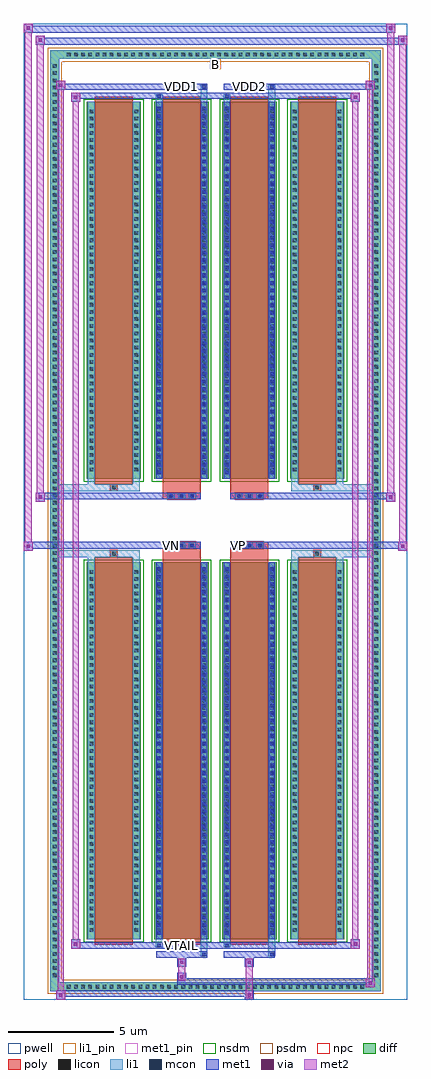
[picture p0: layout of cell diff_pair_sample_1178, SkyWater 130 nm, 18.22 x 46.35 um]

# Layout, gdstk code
import gdstk
lib = gdstk.Library(unit=1e-6, precision=5e-09)
def R(c, l, rs):  # rectangles x0, y0, x1, y1
    for r in rs: c.add(gdstk.rectangle(r[:2], r[2:], *l))
def A(c, l, x, y, w, h, nx, ny, dx, dy):  # array of equal rectangles
    R(c, l, [(x+i*dx, y+j*dy, x+i*dx+w, y+j*dy+h) for i in range(nx) for j in range(ny)])
def P(c, l, *ps):  # polygons
    for p in ps: c.add(gdstk.Polygon(p, *l))
pwell = (64, 44)
diff = (65, 20)
poly = (66, 20)
licon = (66, 44)
li1_pin = (67, 16)
li1 = (67, 20)
mcon = (67, 44)
met1_pin = (68, 16)
met1 = (68, 20)
via = (68, 44)
met2 = (69, 20)
nsdm = (93, 44)
psdm = (94, 20)
npc = (95, 20)

diff_pair_sample_1178 = lib.new_cell('diff_pair_sample_1178')
R(diff_pair_sample_1178, pwell, [(-9.11,-22.74,9.11,23.61), (-6.43,-20.93,-0.01,-0.805), (0.01,-20.93,6.43,-0.805), (-6.43,0.805,-0.01,20.93), (0.01,0.805,6.43,20.93)])
A(diff_pair_sample_1178, diff, -7.175, -22.34, 0.41, 0.41, 42, 2, 0.34, 44.27)
A(diff_pair_sample_1178, diff, -7.84, -21.795, 0.41, 0.41, 1, 128, 0, 0.34)
A(diff_pair_sample_1178, diff, 7.43, -21.795, 0.41, 0.41, 1, 128, 0, 0.34)
A(diff_pair_sample_1178, diff, -6.12, -19.885, 2.58, 17.9, 4, 2, 3.22, 21.87)
R(diff_pair_sample_1178, diff, [(-7.175,-22.34,7.175,-21.93), (-7.84,-21.795,-7.43,21.795), (7.43,-21.795,7.84,21.795), (-7.175,21.93,7.175,22.34)])
P(diff_pair_sample_1178, diff, [(7.84,22.34),(-7.84,22.34),(-7.84,-21.93),(-7.43,-21.93),(-7.43,21.93),(7.43,21.93),(7.43,-21.93),(-7.43,-21.93),(-7.84,-21.93),(-7.84,-22.34),(7.84,-22.34)])
A(diff_pair_sample_1178, poly, -5.73, -20.135, 1.8, 18.4, 4, 2, 3.22, 21.87)
A(diff_pair_sample_1178, poly, -2.275, -1.335, 0.33, 0.33, 3, 2, 0.5, 2.34)
A(diff_pair_sample_1178, poly, 0.945, -1.335, 0.33, 0.33, 3, 2, 0.5, 2.34)
R(diff_pair_sample_1178, poly, [(-4.995,-1.735,-4.665,-1.405), (-4.995,-1.735,-4.665,-1.405), (-2.51,-1.735,-0.71,-1.335), (0.71,-1.735,2.51,-1.335), (4.665,-1.735,4.995,-1.405), (4.665,-1.735,4.995,-1.405), (-2.51,-1.335,-0.71,-1.005), (0.71,-1.335,2.51,-1.005), (-2.51,1.005,-0.71,1.335), (0.71,1.005,2.51,1.335), (-2.51,1.335,-0.71,1.735), (0.71,1.335,2.51,1.735), (-4.995,1.405,-4.665,1.735), (-4.995,1.405,-4.665,1.735), (4.665,1.405,4.995,1.735), (4.665,1.405,4.995,1.735)])
A(diff_pair_sample_1178, licon, -7.055, -22.22, 0.17, 0.17, 42, 2, 0.34, 44.27)
A(diff_pair_sample_1178, licon, -7.72, -21.675, 0.17, 0.17, 1, 128, 0, 0.34)
A(diff_pair_sample_1178, licon, 7.55, -21.675, 0.17, 0.17, 1, 128, 0, 0.34)
A(diff_pair_sample_1178, licon, -5.98, -19.52, 0.17, 0.17, 1, 51, 0, 0.34)
A(diff_pair_sample_1178, licon, -3.85, -19.52, 0.17, 0.17, 1, 51, 0, 0.34)
A(diff_pair_sample_1178, licon, -2.76, -19.52, 0.17, 0.17, 1, 51, 0, 0.34)
A(diff_pair_sample_1178, licon, -0.63, -19.52, 0.17, 0.17, 1, 51, 0, 0.34)
A(diff_pair_sample_1178, licon, 0.46, -19.52, 0.17, 0.17, 1, 51, 0, 0.34)
A(diff_pair_sample_1178, licon, 2.59, -19.52, 0.17, 0.17, 1, 51, 0, 0.34)
A(diff_pair_sample_1178, licon, 3.68, -19.52, 0.17, 0.17, 1, 51, 0, 0.34)
A(diff_pair_sample_1178, licon, 5.81, -19.52, 0.17, 0.17, 1, 51, 0, 0.34)
A(diff_pair_sample_1178, licon, -2.195, -1.255, 0.17, 0.17, 3, 2, 0.5, 2.34)
A(diff_pair_sample_1178, licon, 1.025, -1.255, 0.17, 0.17, 3, 2, 0.5, 2.34)
A(diff_pair_sample_1178, licon, -5.98, 2.35, 0.17, 0.17, 1, 51, 0, 0.34)
A(diff_pair_sample_1178, licon, -3.85, 2.35, 0.17, 0.17, 1, 51, 0, 0.34)
A(diff_pair_sample_1178, licon, -2.76, 2.35, 0.17, 0.17, 1, 51, 0, 0.34)
A(diff_pair_sample_1178, licon, -0.63, 2.35, 0.17, 0.17, 1, 51, 0, 0.34)
A(diff_pair_sample_1178, licon, 0.46, 2.35, 0.17, 0.17, 1, 51, 0, 0.34)
A(diff_pair_sample_1178, licon, 2.59, 2.35, 0.17, 0.17, 1, 51, 0, 0.34)
A(diff_pair_sample_1178, licon, 3.68, 2.35, 0.17, 0.17, 1, 51, 0, 0.34)
A(diff_pair_sample_1178, licon, 5.81, 2.35, 0.17, 0.17, 1, 51, 0, 0.34)
R(diff_pair_sample_1178, licon, [(-4.915,-1.655,-4.745,-1.485), (4.745,-1.655,4.915,-1.485), (-4.915,1.485,-4.745,1.655), (4.745,1.485,4.915,1.655)])
R(diff_pair_sample_1178, li1_pin, [(-0.25,21.43,0.25,21.93)])
A(diff_pair_sample_1178, li1, -7.135, -22.3, 0.33, 0.33, 42, 2, 0.34, 44.27)
A(diff_pair_sample_1178, li1, -7.8, -21.755, 0.33, 0.33, 1, 128, 0, 0.34)
A(diff_pair_sample_1178, li1, 7.47, -21.755, 0.33, 0.33, 1, 128, 0, 0.34)
A(diff_pair_sample_1178, li1, -2.76, -19.66, 0.17, 0.17, 1, 49, 0, 0.36)
A(diff_pair_sample_1178, li1, -0.63, -19.66, 0.17, 0.17, 1, 49, 0, 0.36)
A(diff_pair_sample_1178, li1, 0.46, -19.66, 0.17, 0.17, 1, 49, 0, 0.36)
A(diff_pair_sample_1178, li1, 2.59, -19.66, 0.17, 0.17, 1, 49, 0, 0.36)
A(diff_pair_sample_1178, li1, -6.06, -19.6, 0.33, 0.33, 1, 51, 0, 0.34)
A(diff_pair_sample_1178, li1, -3.93, -19.6, 0.33, 0.33, 1, 51, 0, 0.34)
A(diff_pair_sample_1178, li1, -2.84, -19.6, 0.33, 0.33, 1, 51, 0, 0.34)
A(diff_pair_sample_1178, li1, -0.71, -19.6, 0.33, 0.33, 1, 51, 0, 0.34)
A(diff_pair_sample_1178, li1, 0.38, -19.6, 0.33, 0.33, 1, 51, 0, 0.34)
A(diff_pair_sample_1178, li1, 2.51, -19.6, 0.33, 0.33, 1, 51, 0, 0.34)
A(diff_pair_sample_1178, li1, 3.6, -19.6, 0.33, 0.33, 1, 51, 0, 0.34)
A(diff_pair_sample_1178, li1, 5.73, -19.6, 0.33, 0.33, 1, 51, 0, 0.34)
A(diff_pair_sample_1178, li1, -2.275, -1.335, 0.33, 0.33, 3, 2, 0.5, 2.34)
A(diff_pair_sample_1178, li1, 0.945, -1.335, 0.33, 0.33, 3, 2, 0.5, 2.34)
A(diff_pair_sample_1178, li1, -2.76, 2.21, 0.17, 0.17, 1, 49, 0, 0.36)
A(diff_pair_sample_1178, li1, -0.63, 2.21, 0.17, 0.17, 1, 49, 0, 0.36)
A(diff_pair_sample_1178, li1, 0.46, 2.21, 0.17, 0.17, 1, 49, 0, 0.36)
A(diff_pair_sample_1178, li1, 2.59, 2.21, 0.17, 0.17, 1, 49, 0, 0.36)
A(diff_pair_sample_1178, li1, -6.06, 2.27, 0.33, 0.33, 1, 51, 0, 0.34)
A(diff_pair_sample_1178, li1, -3.93, 2.27, 0.33, 0.33, 1, 51, 0, 0.34)
A(diff_pair_sample_1178, li1, -2.84, 2.27, 0.33, 0.33, 1, 51, 0, 0.34)
A(diff_pair_sample_1178, li1, -0.71, 2.27, 0.33, 0.33, 1, 51, 0, 0.34)
A(diff_pair_sample_1178, li1, 0.38, 2.27, 0.33, 0.33, 1, 51, 0, 0.34)
A(diff_pair_sample_1178, li1, 2.51, 2.27, 0.33, 0.33, 1, 51, 0, 0.34)
A(diff_pair_sample_1178, li1, 3.6, 2.27, 0.33, 0.33, 1, 51, 0, 0.34)
A(diff_pair_sample_1178, li1, 5.73, 2.27, 0.33, 0.33, 1, 51, 0, 0.34)
R(diff_pair_sample_1178, li1, [(-7.84,-22.34,-7.43,-21.93), (-7.84,-22.34,-7.43,-21.93), (-7.43,-22.34,7.43,-21.93), (7.43,-22.34,7.84,-21.93), (7.43,-22.34,7.84,-21.93), (-7.84,-21.93,-7.43,21.93), (7.43,-21.93,7.84,21.93), (-0.71,-20.69,-0.38,-19.885), (-0.63,-20.69,-0.46,-20.52), (2.51,-20.69,2.84,-19.885), (2.59,-20.69,2.76,-20.52), (-2.84,-20.26,-2.51,-19.885), (-2.76,-20.26,-2.59,-20.09), (0.38,-20.26,0.71,-19.885), (0.46,-20.26,0.63,-20.09), (-6.06,-19.885,-5.73,-1.985), (-3.93,-19.885,-3.6,-1.985), (-2.84,-19.885,-2.51,-1.985), (-0.71,-19.885,-0.38,-1.985), (0.38,-19.885,0.71,-1.985), (2.51,-19.885,2.84,-1.985), (3.6,-19.885,3.93,-1.985), (5.73,-19.885,6.06,-1.985), (-2.76,-19.66,-2.59,-2.21), (-0.63,-19.66,-0.46,-2.21), (0.46,-19.66,0.63,-2.21), (2.59,-19.66,2.76,-2.21), (-6.06,-1.985,-5.73,-1.405), (-3.93,-1.985,-3.6,-1.405), (3.6,-1.985,3.93,-1.405), (5.73,-1.985,6.06,-1.405), (-7.84,-1.735,-4.995,-1.405), (-6.06,-1.735,-4.995,-1.405), (-4.995,-1.735,-4.665,-1.405), (-4.665,-1.735,-3.6,-1.405), (3.6,-1.735,4.665,-1.405), (4.665,-1.735,4.995,-1.405), (4.665,-1.735,7.84,-1.405), (4.995,-1.735,6.06,-1.405), (-7.84,1.405,-4.995,1.735), (-6.06,1.405,-4.995,1.735), (-6.06,1.405,-5.73,1.985), (-4.995,1.405,-4.665,1.735), (-4.665,1.405,-3.6,1.735), (-3.93,1.405,-3.6,1.985), (3.6,1.405,4.665,1.735), (3.6,1.405,3.93,1.985), (4.665,1.405,4.995,1.735), (4.665,1.405,7.84,1.735), (4.995,1.405,6.06,1.735), (5.73,1.405,6.06,1.985), (-6.06,1.985,-5.73,19.885), (-3.93,1.985,-3.6,19.885), (-2.84,1.985,-2.51,19.885), (-0.71,1.985,-0.38,19.885), (0.38,1.985,0.71,19.885), (2.51,1.985,2.84,19.885), (3.6,1.985,3.93,19.885), (5.73,1.985,6.06,19.885), (-2.76,2.21,-2.59,19.66), (-0.63,2.21,-0.46,19.66), (0.46,2.21,0.63,19.66), (2.59,2.21,2.76,19.66), (-2.84,19.885,-2.51,20.26), (-0.71,19.885,-0.38,20.69), (0.38,19.885,0.71,20.26), (2.51,19.885,2.84,20.69), (-2.76,20.09,-2.59,20.26), (0.46,20.09,0.63,20.26), (-0.63,20.52,-0.46,20.69), (2.59,20.52,2.76,20.69), (-7.84,21.93,-7.43,22.34), (-7.84,21.93,-7.43,22.34), (-7.43,21.93,7.43,22.34), (7.43,21.93,7.84,22.34), (7.43,21.93,7.84,22.34)])
A(diff_pair_sample_1178, mcon, -2.76, -19.66, 0.17, 0.17, 1, 49, 0, 0.36)
A(diff_pair_sample_1178, mcon, -0.63, -19.66, 0.17, 0.17, 1, 49, 0, 0.36)
A(diff_pair_sample_1178, mcon, 0.46, -19.66, 0.17, 0.17, 1, 49, 0, 0.36)
A(diff_pair_sample_1178, mcon, 2.59, -19.66, 0.17, 0.17, 1, 49, 0, 0.36)
A(diff_pair_sample_1178, mcon, -2.195, -1.255, 0.17, 0.17, 3, 2, 0.5, 2.34)
A(diff_pair_sample_1178, mcon, 1.025, -1.255, 0.17, 0.17, 3, 2, 0.5, 2.34)
A(diff_pair_sample_1178, mcon, -2.76, 2.21, 0.17, 0.17, 1, 49, 0, 0.36)
A(diff_pair_sample_1178, mcon, -0.63, 2.21, 0.17, 0.17, 1, 49, 0, 0.36)
A(diff_pair_sample_1178, mcon, 0.46, 2.21, 0.17, 0.17, 1, 49, 0, 0.36)
A(diff_pair_sample_1178, mcon, 2.59, 2.21, 0.17, 0.17, 1, 49, 0, 0.36)
R(diff_pair_sample_1178, mcon, [(-0.63,-20.69,-0.46,-20.52), (2.59,-20.69,2.76,-20.52), (-2.76,-20.26,-2.59,-20.09), (0.46,-20.26,0.63,-20.09), (-2.76,20.09,-2.59,20.26), (0.46,20.09,0.63,20.26), (-0.63,20.52,-0.46,20.69), (2.59,20.52,2.76,20.69)])
R(diff_pair_sample_1178, met1_pin, [(-1.745,-20.3,-1.475,-20.03), (-2.245,-1.295,-1.975,-1.025), (0.975,-1.295,1.245,-1.025), (-1.745,20.48,-1.475,20.75), (1.475,20.48,1.745,20.75)])
A(diff_pair_sample_1178, met1, -2.82, -19.72, 0.29, 0.29, 1, 49, 0, 0.36)
A(diff_pair_sample_1178, met1, -0.69, -19.72, 0.29, 0.29, 1, 49, 0, 0.36)
A(diff_pair_sample_1178, met1, 0.4, -19.72, 0.29, 0.29, 1, 49, 0, 0.36)
A(diff_pair_sample_1178, met1, 2.53, -19.72, 0.29, 0.29, 1, 49, 0, 0.36)
A(diff_pair_sample_1178, met1, -2.255, -1.315, 0.29, 0.29, 3, 2, 0.5, 2.34)
A(diff_pair_sample_1178, met1, 0.965, -1.315, 0.29, 0.29, 3, 2, 0.5, 2.34)
A(diff_pair_sample_1178, met1, -2.82, 2.15, 0.29, 0.29, 1, 49, 0, 0.36)
A(diff_pair_sample_1178, met1, -0.69, 2.15, 0.29, 0.29, 1, 49, 0, 0.36)
A(diff_pair_sample_1178, met1, 0.4, 2.15, 0.29, 0.29, 1, 49, 0, 0.36)
A(diff_pair_sample_1178, met1, 2.53, 2.15, 0.29, 0.29, 1, 49, 0, 0.36)
R(diff_pair_sample_1178, met1, [(-7.57,-22.74,-7.14,-22.31), (1.395,-22.74,1.825,-22.31), (-7.57,-22.6,1.825,-22.31), (7.14,-22.17,7.57,-21.74), (-1.825,-22.03,7.57,-21.74), (-1.825,-21.89,-1.395,-21.46), (-1.825,-21.18,-1.395,-20.75), (1.395,-21.18,1.825,-20.75), (-2.82,-20.75,-0.4,-20.46), (-0.69,-20.75,-0.4,-20.46), (0.4,-20.75,2.82,-20.46), (2.53,-20.75,2.82,-20.46), (-6.86,-20.32,-6.43,-19.89), (-6.86,-20.32,-2.82,-20.03), (-2.82,-20.32,-2.53,-20.03), (-2.82,-20.32,-0.4,-20.03), (-0.4,-20.32,0.4,-20.03), (0.4,-20.32,0.69,-20.03), (0.4,-20.32,2.82,-20.03), (2.82,-20.32,6.86,-20.03), (6.43,-20.32,6.86,-19.89), (-2.82,-19.885,-2.53,-1.985), (-0.69,-19.885,-0.4,-1.985), (0.4,-19.885,0.69,-1.985), (2.53,-19.885,2.82,-1.985), (-9.11,-1.435,-8.68,-1.005), (8.68,-1.435,9.11,-1.005), (-9.11,-1.335,-0.71,-1.005), (-2.51,-1.335,-0.71,-1.005), (0.71,-1.335,2.51,-1.005), (0.71,-1.335,9.11,-1.005), (-8.54,0.905,-8.11,1.335), (8.11,0.905,8.54,1.335), (-8.54,1.005,-2.51,1.335), (-2.51,1.005,-0.71,1.335), (0.71,1.005,2.51,1.335), (2.51,1.005,8.54,1.335), (-2.82,1.985,-2.53,19.885), (-0.69,1.985,-0.4,19.885), (0.4,1.985,0.69,19.885), (2.53,1.985,2.82,19.885), (-6.86,19.89,-6.43,20.32), (6.43,19.89,6.86,20.32), (-6.86,20.03,-2.82,20.32), (-2.82,20.03,-2.53,20.32), (-2.82,20.03,-0.4,20.32), (-0.4,20.03,0.4,20.32), (0.4,20.03,0.69,20.32), (0.4,20.03,2.82,20.32), (2.82,20.03,6.86,20.32), (-7.57,20.46,-7.14,20.89), (-7.57,20.46,-2.82,20.75), (-2.82,20.46,-0.4,20.75), (-0.69,20.46,-0.4,20.75), (0.4,20.46,2.82,20.75), (2.53,20.46,2.82,20.75), (2.82,20.46,7.57,20.75), (7.14,20.46,7.57,20.89), (-8.54,22.61,-8.11,23.04), (-8.54,22.61,-6.43,22.94), (-6.43,22.61,6.43,22.94), (6.43,22.61,9.11,22.94), (8.68,22.61,9.11,23.04), (-9.11,23.18,-8.68,23.61), (-9.11,23.18,-6.43,23.51), (-6.43,23.18,6.43,23.51), (6.43,23.18,8.54,23.51), (8.11,23.18,8.54,23.61)])
R(diff_pair_sample_1178, via, [(-7.43,-22.6,-7.28,-22.45), (1.535,-22.6,1.685,-22.45), (7.28,-22.03,7.43,-21.88), (-1.685,-21.75,-1.535,-21.6), (-1.685,-21.04,-1.535,-20.89), (1.535,-21.04,1.685,-20.89), (-6.72,-20.18,-6.57,-20.03), (6.57,-20.18,6.72,-20.03), (-8.97,-1.295,-8.82,-1.145), (8.82,-1.295,8.97,-1.145), (-8.4,1.045,-8.25,1.195), (8.25,1.045,8.4,1.195), (-6.72,20.03,-6.57,20.18), (6.57,20.03,6.72,20.18), (-7.43,20.6,-7.28,20.75), (7.28,20.6,7.43,20.75), (-8.4,22.75,-8.25,22.9), (8.82,22.75,8.97,22.9), (-8.97,23.32,-8.82,23.47), (8.25,23.32,8.4,23.47)])
R(diff_pair_sample_1178, met2, [(-7.57,-22.74,-7.14,-22.31), (-7.5,-22.74,-7.21,20.89), (-7.21,-22.74,-7.14,-22.31), (-7.52,-22.69,-7.19,-22.36), (1.445,-22.69,1.775,-22.36), (1.445,-22.36,1.775,-21.13), (7.14,-22.17,7.57,-21.74), (7.21,-22.17,7.5,20.89), (7.5,-22.17,7.57,-21.74), (7.19,-22.12,7.52,-21.79), (-1.775,-21.84,-1.445,-21.51), (-1.775,-21.51,-1.445,-21.13), (-1.775,-21.13,-1.445,-20.8), (1.445,-21.13,1.775,-20.8), (-6.86,-20.32,-6.43,-19.89), (-6.79,-20.32,-6.5,20.32), (-6.5,-20.32,-6.43,-19.89), (6.43,-20.32,6.86,-19.89), (6.5,-20.32,6.79,20.32), (6.79,-20.32,6.86,-19.89), (-6.81,-20.27,-6.48,-19.94), (6.48,-20.27,6.81,-19.94), (-9.11,-1.435,-8.68,-1.005), (-9.06,-1.435,-8.73,23.61), (-8.73,-1.435,-8.68,-1.005), (8.68,-1.435,9.11,-1.005), (8.73,-1.435,9.06,23.04), (9.06,-1.435,9.11,-1.005), (-9.06,-1.385,-8.73,-1.055), (8.73,-1.385,9.06,-1.055), (-8.54,0.905,-8.11,1.335), (-8.49,0.905,-8.16,23.04), (-8.16,0.905,-8.11,1.335), (8.11,0.905,8.54,1.335), (8.16,0.905,8.49,23.61), (8.49,0.905,8.54,1.335), (-8.49,0.955,-8.16,1.285), (8.16,0.955,8.49,1.285), (-6.86,19.89,-6.43,20.32), (-6.5,19.89,-6.43,20.32), (6.43,19.89,6.86,20.32), (6.79,19.89,6.86,20.32), (-6.81,19.94,-6.48,20.27), (6.48,19.94,6.81,20.27), (-7.57,20.46,-7.14,20.89), (-7.21,20.46,-7.14,20.89), (7.14,20.46,7.57,20.89), (7.5,20.46,7.57,20.89), (-7.52,20.51,-7.19,20.84), (7.19,20.51,7.52,20.84), (-8.54,22.61,-8.11,23.04), (-8.16,22.61,-8.11,23.04), (8.68,22.61,9.11,23.04), (9.06,22.61,9.11,23.04), (-8.49,22.66,-8.16,22.99), (8.73,22.66,9.06,22.99), (-9.11,23.18,-8.68,23.61), (-8.73,23.18,-8.68,23.61), (8.11,23.18,8.54,23.61), (8.49,23.18,8.54,23.61), (-9.06,23.23,-8.73,23.56), (8.16,23.23,8.49,23.56)])
A(diff_pair_sample_1178, nsdm, -6.25, -20.015, 2.84, 18.16, 4, 2, 3.22, 21.87)
P(diff_pair_sample_1178, psdm, [(7.97,22.47),(-7.97,22.47),(-7.97,-21.8),(-7.3,-21.8),(-7.3,21.8),(7.3,21.8),(7.3,-21.8),(-7.3,-21.8),(-7.97,-21.8),(-7.97,-22.47),(7.97,-22.47)])
A(diff_pair_sample_1178, npc, -2.295, -1.355, 0.37, 0.37, 3, 2, 0.5, 2.34)
A(diff_pair_sample_1178, npc, 0.925, -1.355, 0.37, 0.37, 3, 2, 0.5, 2.34)
R(diff_pair_sample_1178, npc, [(-5.015,-1.755,-4.645,-1.385), (4.645,-1.755,5.015,-1.385), (-2.295,-1.355,-1.425,-0.985), (-2.295,-1.355,-1.425,-0.985), (-1.795,-1.355,-0.925,-0.985), (-1.795,-1.355,-0.925,-0.985), (0.925,-1.355,1.795,-0.985), (0.925,-1.355,1.795,-0.985), (1.425,-1.355,2.295,-0.985), (1.425,-1.355,2.295,-0.985), (-2.295,0.985,-1.425,1.355), (-2.295,0.985,-1.425,1.355), (-1.795,0.985,-0.925,1.355), (-1.795,0.985,-0.925,1.355), (0.925,0.985,1.795,1.355), (0.925,0.985,1.795,1.355), (1.425,0.985,2.295,1.355), (1.425,0.985,2.295,1.355), (-5.015,1.385,-4.645,1.755), (4.645,1.385,5.015,1.755)])
diff_pair_sample_1178.add(gdstk.Label('VTAIL', (-1.61,-20.165), layer=68, texttype=5))
diff_pair_sample_1178.add(gdstk.Label('VN', (-2.11,-1.16), layer=68, texttype=5))
diff_pair_sample_1178.add(gdstk.Label('VP', (1.11,-1.16), layer=68, texttype=5))
diff_pair_sample_1178.add(gdstk.Label('B', (0,21.68), layer=67, texttype=5))
diff_pair_sample_1178.add(gdstk.Label('VDD2', (1.61,20.615), layer=68, texttype=5))
diff_pair_sample_1178.add(gdstk.Label('VDD1', (-1.61,20.615), layer=68, texttype=5))

lib.write_gds('diff_pair_sample_1178.gds')
